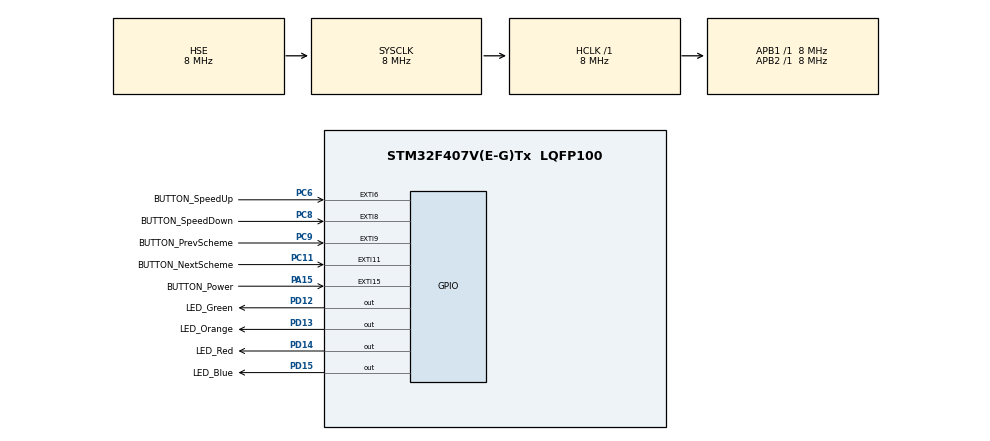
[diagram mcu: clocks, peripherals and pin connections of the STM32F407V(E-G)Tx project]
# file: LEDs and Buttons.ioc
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Mcu.Family=STM32F4
Mcu.Name=STM32F407V(E-G)Tx
Mcu.Package=LQFP100
NVIC.EXTI15_10_IRQn=true\:0\:0\:false\:false\:true\:true\:true
NVIC.EXTI9_5_IRQn=true\:0\:0\:false\:false\:true\:true\:true
NVIC.PriorityGroup=NVIC_PRIORITYGROUP_4
PA15.GPIO_Label=BUTTON_Power
PA15.GPIO_ModeDefaultEXTI=GPIO_MODE_IT_FALLING
PA15.Signal=GPXTI15
PC11.GPIO_Label=BUTTON_NextScheme
PC11.GPIO_ModeDefaultEXTI=GPIO_MODE_IT_FALLING
PC11.Signal=GPXTI11
PC6.GPIO_Label=BUTTON_SpeedUp
PC6.GPIO_ModeDefaultEXTI=GPIO_MODE_IT_FALLING
PC6.Signal=GPXTI6
PC8.GPIO_Label=BUTTON_SpeedDown
PC8.GPIO_ModeDefaultEXTI=GPIO_MODE_IT_FALLING
PC8.Signal=GPXTI8
PC9.GPIO_Label=BUTTON_PrevScheme
PC9.GPIO_ModeDefaultEXTI=GPIO_MODE_IT_FALLING
PC9.Signal=GPXTI9
PD12.GPIO_Label=LED_Green
PD12.Signal=GPIO_Output
PD13.GPIO_Label=LED_Orange
PD13.Signal=GPIO_Output
PD14.GPIO_Label=LED_Red
PD14.Signal=GPIO_Output
PD15.GPIO_Label=LED_Blue
PD15.Signal=GPIO_Output
PH0-OSC_IN.Mode=HSE-External-Oscillator
PH0-OSC_IN.Signal=RCC_OSC_IN
PH1-OSC_OUT.Mode=HSE-External-Oscillator
PH1-OSC_OUT.Signal=RCC_OSC_OUT
ProjectManager.HeapSize=0x200
ProjectManager.StackSize=0x400
ProjectManager.TargetToolchain=STM32CubeIDE
RCC.48MHZClocksFreq_Value=24000000
RCC.AHBFreq_Value=8000000
RCC.APB1Freq_Value=8000000
RCC.APB1TimFreq_Value=8000000
RCC.APB2Freq_Value=8000000
RCC.APB2TimFreq_Value=8000000
RCC.CortexFreq_Value=8000000
RCC.HCLKFreq_Value=8000000
RCC.HSE_VALUE=8000000
RCC.HSI_VALUE=16000000
RCC.LSE_VALUE=32768
RCC.PLLSourceVirtual=RCC_PLLSOURCE_HSE
RCC.SYSCLKFreq_VALUE=8000000
RCC.SYSCLKSource=RCC_SYSCLKSOURCE_HSE
RCC.VCOOutputFreq_Value=96000000
board=custom

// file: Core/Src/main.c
/* USER CODE BEGIN Header */
/**
  ******************************************************************************
  * @file           : main.c
  * @brief          : Main program body
  ******************************************************************************
  * @attention
  *
  * <h2><center>&copy; Copyright (c) 2021 STMicroelectronics.
  * All rights reserved.</center></h2>
  *
  * This software component is licensed by ST under BSD 3-Clause license,
  * the "License"; You may not use this file except in compliance with the
  * License. You may obtain a copy of the License at:
  *                        opensource.org/licenses/BSD-3-Clause
  *
  ******************************************************************************
  */
/* USER CODE END Header */
#include "main.h"

/* USER CODE BEGIN PV */
int SchemeNum = 0;
int SchemeSpeed = 200;
_Bool Power = 0;

/* USER CODE END PV */

void SystemClock_Config(void);
static void MX_GPIO_Init(void);

int main(void)
{

  /* MCU Configuration--------------------------------------------------------*/

  /* Reset of all peripherals, Initializes the Flash interface and the Systick. */
  HAL_Init();

  /* Configure the system clock */
  SystemClock_Config();

  /* Initialize all configured peripherals */
  MX_GPIO_Init();

  /* Infinite loop */
  /* USER CODE BEGIN WHILE */
  while (1)
  {
	  switch(SchemeNum)
	  	{
	  		case (1):
	  		  	HAL_GPIO_WritePin(GPIOD, LED_Green_Pin, GPIO_PIN_RESET);
	  			HAL_GPIO_WritePin(GPIOD, LED_Red_Pin, GPIO_PIN_RESET);
	  			HAL_GPIO_WritePin(GPIOD, LED_Blue_Pin, GPIO_PIN_RESET);
	   			HAL_GPIO_WritePin(GPIOD, LED_Orange_Pin, GPIO_PIN_RESET);
	   			HAL_Delay(SchemeSpeed);
	  			HAL_GPIO_TogglePin(GPIOD, LED_Blue_Pin);
		        HAL_Delay(SchemeSpeed);
		        HAL_GPIO_TogglePin(GPIOD, LED_Green_Pin);
		        HAL_Delay(SchemeSpeed);
		        HAL_GPIO_TogglePin(GPIOD, LED_Orange_Pin);
		        HAL_Delay(SchemeSpeed);
		        HAL_GPIO_TogglePin(GPIOD, LED_Red_Pin);
		        HAL_Delay(SchemeSpeed);
	  				break;
	  		case (2):
				HAL_GPIO_WritePin(GPIOD, GPIO_PIN_12, GPIO_PIN_SET);
			  	HAL_GPIO_WritePin(GPIOD, GPIO_PIN_13, GPIO_PIN_RESET);
			  	HAL_Delay(SchemeSpeed);
			  	HAL_GPIO_WritePin(GPIOD, GPIO_PIN_13, GPIO_PIN_SET);
			  	HAL_GPIO_WritePin(GPIOD, GPIO_PIN_14, GPIO_PIN_RESET);
			  	HAL_Delay(SchemeSpeed);
			  	HAL_GPIO_WritePin(GPIOD, GPIO_PIN_15, GPIO_PIN_RESET);
			  	HAL_GPIO_WritePin(GPIOD, GPIO_PIN_14, GPIO_PIN_SET);
			  	HAL_Delay(SchemeSpeed);
			  	HAL_GPIO_WritePin(GPIOD, GPIO_PIN_12, GPIO_PIN_RESET);
			  	HAL_GPIO_WritePin(GPIOD, GPIO_PIN_15, GPIO_PIN_SET);
			  	HAL_Delay(SchemeSpeed);
					break;

	  		case (3):
				HAL_GPIO_WritePin(GPIOD, LED_Blue_Pin, GPIO_PIN_SET);
	  			HAL_GPIO_WritePin(GPIOD, LED_Orange_Pin, GPIO_PIN_SET);
	  			HAL_GPIO_WritePin(GPIOD, LED_Green_Pin, GPIO_PIN_RESET);
	  			HAL_GPIO_WritePin(GPIOD, LED_Red_Pin, GPIO_PIN_RESET);
			  	HAL_Delay(SchemeSpeed);
			  	HAL_GPIO_WritePin(GPIOD, LED_Blue_Pin, GPIO_PIN_RESET);
			  	HAL_GPIO_WritePin(GPIOD, LED_Orange_Pin, GPIO_PIN_RESET);
			  	HAL_GPIO_WritePin(GPIOD, LED_Green_Pin, GPIO_PIN_SET);
			  	HAL_GPIO_WritePin(GPIOD, LED_Red_Pin, GPIO_PIN_SET);
			  	HAL_Delay(SchemeSpeed);
			  		break;
	  		default:
	  			HAL_GPIO_WritePin(GPIOD, LED_Green_Pin, GPIO_PIN_RESET);
	  			HAL_GPIO_WritePin(GPIOD, LED_Red_Pin, GPIO_PIN_RESET);
	  			HAL_GPIO_WritePin(GPIOD, LED_Blue_Pin, GPIO_PIN_RESET);
	  			HAL_GPIO_WritePin(GPIOD, LED_Orange_Pin, GPIO_PIN_RESET);
	  				break;
	  	}
    /* USER CODE END WHILE */

  }
}

void SystemClock_Config(void)
{
  RCC_OscInitTypeDef RCC_OscInitStruct = {0};
  RCC_ClkInitTypeDef RCC_ClkInitStruct = {0};

  /** Configure the main internal regulator output voltage
  */
  __HAL_RCC_PWR_CLK_ENABLE();
  __HAL_PWR_VOLTAGESCALING_CONFIG(PWR_REGULATOR_VOLTAGE_SCALE1);
  /** Initializes the RCC Oscillators according to the specified parameters
  * in the RCC_OscInitTypeDef structure.
  */
  RCC_OscInitStruct.OscillatorType = RCC_OSCILLATORTYPE_HSE;
  RCC_OscInitStruct.HSEState = RCC_HSE_ON;
  RCC_OscInitStruct.PLL.PLLState = RCC_PLL_NONE;
  if (HAL_RCC_OscConfig(&RCC_OscInitStruct) != HAL_OK)
  {
    Error_Handler();
  }
  /** Initializes the CPU, AHB and APB buses clocks
  */
  RCC_ClkInitStruct.ClockType = RCC_CLOCKTYPE_HCLK|RCC_CLOCKTYPE_SYSCLK
                              |RCC_CLOCKTYPE_PCLK1|RCC_CLOCKTYPE_PCLK2;
  RCC_ClkInitStruct.SYSCLKSource = RCC_SYSCLKSOURCE_HSE;
  RCC_ClkInitStruct.AHBCLKDivider = RCC_SYSCLK_DIV1;
  RCC_ClkInitStruct.APB1CLKDivider = RCC_HCLK_DIV1;
  RCC_ClkInitStruct.APB2CLKDivider = RCC_HCLK_DIV1;

  if (HAL_RCC_ClockConfig(&RCC_ClkInitStruct, FLASH_LATENCY_0) != HAL_OK)
  {
    Error_Handler();
  }
}

static void MX_GPIO_Init(void)
{
  GPIO_InitTypeDef GPIO_InitStruct = {0};

  /* GPIO Ports Clock Enable */
  __HAL_RCC_GPIOH_CLK_ENABLE();
  __HAL_RCC_GPIOD_CLK_ENABLE();
  __HAL_RCC_GPIOC_CLK_ENABLE();
  __HAL_RCC_GPIOA_CLK_ENABLE();

  /*Configure GPIO pin Output Level */
  HAL_GPIO_WritePin(GPIOD, LED_Green_Pin|LED_Orange_Pin|LED_Red_Pin|LED_Blue_Pin, GPIO_PIN_RESET);

  /*Configure GPIO pins : LED_Green_Pin LED_Orange_Pin LED_Red_Pin LED_Blue_Pin */
  GPIO_InitStruct.Pin = LED_Green_Pin|LED_Orange_Pin|LED_Red_Pin|LED_Blue_Pin;
  GPIO_InitStruct.Mode = GPIO_MODE_OUTPUT_PP;
  GPIO_InitStruct.Pull = GPIO_NOPULL;
  GPIO_InitStruct.Speed = GPIO_SPEED_FREQ_LOW;
  HAL_GPIO_Init(GPIOD, &GPIO_InitStruct);

  /*Configure GPIO pins : BUTTON_SpeedUp_Pin BUTTON_SpeedDown_Pin BUTTON_PrevScheme_Pin BUTTON_NextScheme_Pin */
  GPIO_InitStruct.Pin = BUTTON_SpeedUp_Pin|BUTTON_SpeedDown_Pin|BUTTON_PrevScheme_Pin|BUTTON_NextScheme_Pin;
  GPIO_InitStruct.Mode = GPIO_MODE_IT_FALLING;
  GPIO_InitStruct.Pull = GPIO_NOPULL;
  HAL_GPIO_Init(GPIOC, &GPIO_InitStruct);

  /*Configure GPIO pin : BUTTON_Power_Pin */
  GPIO_InitStruct.Pin = BUTTON_Power_Pin;
  GPIO_InitStruct.Mode = GPIO_MODE_IT_FALLING;
  GPIO_InitStruct.Pull = GPIO_NOPULL;
  HAL_GPIO_Init(BUTTON_Power_GPIO_Port, &GPIO_InitStruct);

  /* EXTI interrupt init*/
  HAL_NVIC_SetPriority(EXTI9_5_IRQn, 0, 0);
  HAL_NVIC_EnableIRQ(EXTI9_5_IRQn);

  HAL_NVIC_SetPriority(EXTI15_10_IRQn, 0, 0);
  HAL_NVIC_EnableIRQ(EXTI15_10_IRQn);

}

/* USER CODE BEGIN 4 */
void HAL_GPIO_EXTI_Callback(uint16_t GPIO_PIN)
{
	switch(GPIO_PIN)
	{
		case (BUTTON_Power_Pin):
				SchemeNum = (SchemeNum == 1 || SchemeNum == 2 || SchemeNum == 3 ) ? 0 : 1;
				SchemeSpeed = 200;
				Power = (Power == 1) ? 0 : 1;
				break;

		case (BUTTON_SpeedUp_Pin):
			if (Power == 0) break;
			if(SchemeSpeed > 50) SchemeSpeed = SchemeSpeed - 50;
				break;

		case (BUTTON_SpeedDown_Pin):
			if (Power == 0) break;
			if(SchemeSpeed < 1000) SchemeSpeed = SchemeSpeed + 50;
				break;

		case (BUTTON_NextScheme_Pin):
				if (Power == 0) break;
				SchemeNum++;
				if(SchemeNum > 3)SchemeNum = 1;
				break;

		case (BUTTON_PrevScheme_Pin):
				if (Power == 0) break;
				SchemeNum--;
				if(SchemeNum < 1)SchemeNum = 3;
				break;
	}

}

/* USER CODE END 4 */

void Error_Handler(void)
{
  __disable_irq();
  while (1)
  {
  }
}

/************************ (C) COPYRIGHT STMicroelectronics *****END OF FILE****/
